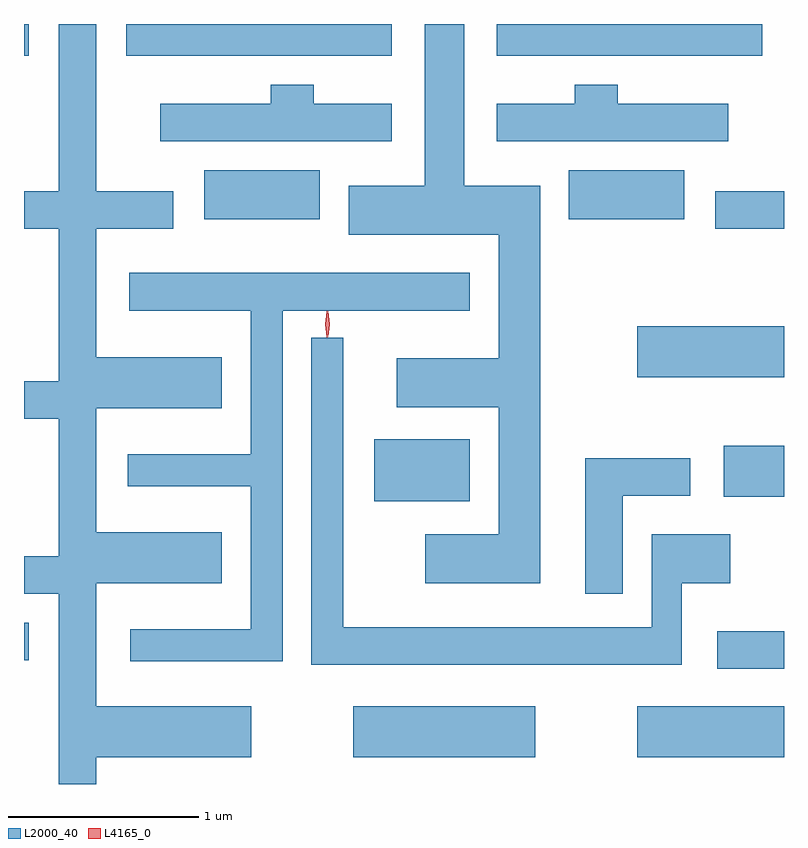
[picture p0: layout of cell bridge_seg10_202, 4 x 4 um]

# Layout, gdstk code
import gdstk
lib = gdstk.Library(unit=1e-6, precision=1e-09)
def R(c, l, rs):  # rectangles x0, y0, x1, y1
    for r in rs: c.add(gdstk.rectangle(r[:2], r[2:], *l))
def P(c, l, *ps):  # polygons
    for p in ps: c.add(gdstk.Polygon(p, *l))
L2000_40 = (2000, 40)
L4165_0 = (4165, 0)

bridge_seg10_202 = lib.new_cell('bridge_seg10_202')
R(bridge_seg10_202, L2000_40, [(1735.341,2139.966,1736.299,2140.234), (1736.836,2139.966,1737.608,2140.234), (1737.256,2140.431,1737.608,2140.629), (1733.608,2140.476,1733.634,2140.674), (1735.451,2141.311,1735.954,2141.639), (1737.291,2141.336,1737.608,2141.604), (1736.836,2141.966,1737.608,2142.234), (1737.246,2142.746,1737.608,2142.944), (1734.556,2142.796,1735.164,2143.054), (1736.476,2142.796,1737.084,2143.054), (1733.608,2143.656,1733.634,2143.824), (1734.146,2143.656,1735.544,2143.824), (1736.096,2143.656,1737.494,2143.824)])
P(bridge_seg10_202, L2000_40, [(1733.608,2141.944),(1733.608,2141.746),(1733.791,2141.746),(1733.791,2141.024),(1733.608,2141.024),(1733.608,2140.826),(1733.791,2140.826),(1733.791,2139.824),(1733.989,2139.824),(1733.989,2139.966),(1734.804,2139.966),(1734.804,2140.234),(1733.989,2140.234),(1733.989,2140.881),(1734.649,2140.881),(1734.649,2141.149),(1733.989,2141.149),(1733.989,2141.801),(1734.649,2141.801),(1734.649,2142.069),(1733.989,2142.069),(1733.989,2142.746),(1734.394,2142.746),(1734.394,2142.944),(1733.989,2142.944),(1733.989,2143.824),(1733.791,2143.824),(1733.791,2142.944),(1733.608,2142.944),(1733.608,2142.746),(1733.791,2142.746),(1733.791,2141.944)],
  [(1736.324,2142.974),(1735.924,2142.974),(1735.924,2143.824),(1735.716,2143.824),(1735.716,2142.974),(1735.316,2142.974),(1735.316,2142.716),(1736.106,2142.716),(1736.106,2142.064),(1735.571,2142.064),(1735.571,2141.806),(1736.106,2141.806),(1736.106,2141.139),(1735.721,2141.139),(1735.721,2140.881),(1736.324,2140.881)],
  [(1737.314,2143.404),(1736.734,2143.404),(1736.734,2143.504),(1736.506,2143.504),(1736.506,2143.404),(1736.096,2143.404),(1736.096,2143.206),(1737.314,2143.206)],
  [(1735.544,2143.404),(1735.134,2143.404),(1735.134,2143.504),(1734.906,2143.504),(1734.906,2143.404),(1734.326,2143.404),(1734.326,2143.206),(1735.544,2143.206)],
  [(1734.969,2142.316),(1735.954,2142.316),(1735.954,2142.514),(1734.161,2142.514),(1734.161,2142.316),(1734.801,2142.316),(1734.801,2141.559),(1734.153,2141.559),(1734.153,2141.391),(1734.801,2141.391),(1734.801,2140.639),(1734.168,2140.639),(1734.168,2140.471),(1734.969,2140.471)],
  [(1737.069,2140.881),(1737.324,2140.881),(1737.324,2141.139),(1736.911,2141.139),(1736.911,2140.649),(1735.289,2140.649),(1735.289,2142.173),(1735.121,2142.173),(1735.121,2140.451),(1737.069,2140.451)],
  [(1736.759,2141.341),(1737.114,2141.341),(1737.114,2141.539),(1736.561,2141.539),(1736.561,2140.826),(1736.759,2140.826)])
P(bridge_seg10_202, L4165_0, [(1735.203,2142.174),(1735.202,2142.175),(1735.193,2142.244),(1735.202,2142.313),(1735.203,2142.314),(1735.203,2142.313),(1735.213,2142.244),(1735.203,2142.175)],
  [(1735.208,2142.178),(1735.199,2142.244),(1735.208,2142.311),(1735.208,2142.311),(1735.209,2142.311),(1735.218,2142.244),(1735.209,2142.178),(1735.209,2142.178)])

lib.write_gds('bridge_seg10_202.gds')
